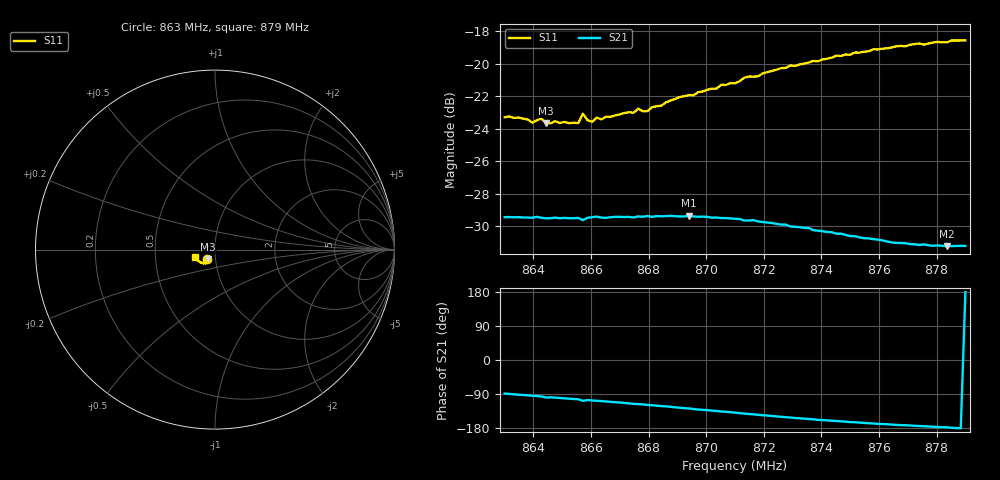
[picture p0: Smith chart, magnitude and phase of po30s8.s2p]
# HZ S RI R 50
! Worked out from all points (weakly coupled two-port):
!   101 points, 863 MHz to 879 MHz, reference 50 ohm
!   highest |S21| = -29.36 dB at 869.4 MHz (marker M1); lowest = -31.2 dB at 878.36 MHz (marker M2)
!   lowest |S11| = -23.7 dB at 864.44 MHz (marker M3), VSWR 1.14, Z = 46.1 - j4.97 ohm
!   |S11| at or under -10 dB: start of sweep to end of sweep
!   S12 and S22 are empty: the file has one direction only
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8.63e8  -0.0433 -0.053  0.000769 -0.0337  0 0  0 0
8.6348e8  -0.0417 -0.0541  -0.00099 -0.0337  0 0  0 0
8.6396e8  -0.0391 -0.053  -0.00252 -0.0335  0 0  0 0
8.6428e8  -0.0382 -0.056  -0.00363 -0.0333  0 0  0 0
8.6444e8  -0.0376 -0.0537  -0.00529 -0.033  0 0  0 0
8.6556e8  -0.0351 -0.0555  -0.0079 -0.0326  0 0  0 0
8.6572e8  -0.0382 -0.0589  -0.0101 -0.0314  0 0  0 0
8.6588e8  -0.0346 -0.0573  -0.00908 -0.0323  0 0  0 0
8.6604e8  -0.0336 -0.0571  -0.00969 -0.0323  0 0  0 0
8.662e8  -0.0351 -0.0585  -0.0103 -0.0322  0 0  0 0
8.6636e8  -0.0351 -0.0575  -0.0106 -0.0319  0 0  0 0
8.6748e8  -0.0327 -0.0626  -0.0147 -0.0303  0 0  0 0
8.6764e8  -0.0351 -0.0637  -0.015 -0.0304  0 0  0 0
8.6796e8  -0.0339 -0.063  -0.0162 -0.0298  0 0  0 0
8.6844e8  -0.0349 -0.0655  -0.0178 -0.0289  0 0  0 0
8.694e8  -0.0386 -0.0702  -0.0209 -0.0268  0 0  0 0
8.71e8  -0.0465 -0.0736  -0.0251 -0.0219  0 0  0 0
8.7132e8  -0.0494 -0.0759  -0.0257 -0.0205  0 0  0 0
8.7372e8  -0.0684 -0.0756  -0.0282 -0.0123  0 0  0 0
8.7644e8  -0.0931 -0.0625  -0.0278 -0.00465  0 0  0 0
8.7836e8  -0.1069 -0.046  -0.0274 -0.00112  0 0  0 0
8.79e8  -0.1111 -0.0395  -0.0275 0.000421  0 0  0 0
